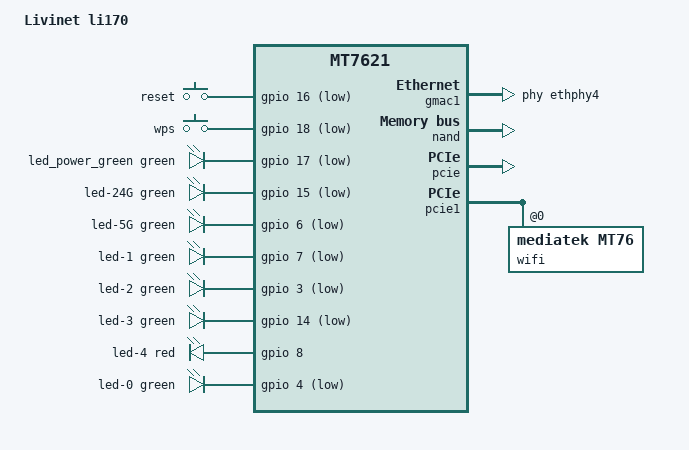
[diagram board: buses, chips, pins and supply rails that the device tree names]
// SPDX-License-Identifier: GPL-2.0-or-later OR MIT

#include "mt7621.dtsi"

#include <dt-bindings/gpio/gpio.h>
#include <dt-bindings/input/input.h>
#include <dt-bindings/leds/common.h>

/ {
	compatible = "livinet,li170", "mediatek,mt7621-soc";
	model = "Livinet li170";

	aliases {
		label-mac-device = &gmac0;

		led-boot = &led_power_green;
		led-failsafe = &led_power_green;
		led-running = &led_power_green;
		led-upgrade = &led_power_green;
	};

	chosen {
		bootargs = "console=ttyS0,115200";
	};

	keys {
		compatible = "gpio-keys";

		reset {
			label = "reset";
			gpios = <&gpio 16 GPIO_ACTIVE_LOW>;
			linux,code = <KEY_RESTART>;
		};
		wps {
			label = "wps";
			gpios = <&gpio 18 GPIO_ACTIVE_LOW>;
			linux,code = <KEY_WPS_BUTTON>;
		};
	};

	leds {
		compatible = "gpio-leds";

		led_power_green: led-5 {
			color = <LED_COLOR_ID_GREEN>;
			function = LED_FUNCTION_POWER;
			gpios = <&gpio 17 GPIO_ACTIVE_LOW>;
		};

		led-24G {
			color = <LED_COLOR_ID_GREEN>;
			function = LED_FUNCTION_WLAN_2GHZ;
			gpios = <&gpio 15 GPIO_ACTIVE_LOW>;
			linux,default-trigger = "phy0tpt";
		};

		led-5G {
			color = <LED_COLOR_ID_GREEN>;
			function = LED_FUNCTION_WLAN_5GHZ;
			gpios = <&gpio 6 GPIO_ACTIVE_LOW>;
			linux,default-trigger = "phy1tpt";
		};
		led-1 {
			color = <LED_COLOR_ID_GREEN>;
			function = LED_FUNCTION_LAN;
			function-enumerator = <1>;
			gpios = <&gpio 7 GPIO_ACTIVE_LOW>;
		};
		led-2 {
			color = <LED_COLOR_ID_GREEN>;
			function = LED_FUNCTION_LAN;
			function-enumerator = <2>;
			gpios = <&gpio 3 GPIO_ACTIVE_LOW>;
		};
		led-3 {
			color = <LED_COLOR_ID_GREEN>;
			function = LED_FUNCTION_LAN;
			function-enumerator = <3>;
			gpios = <&gpio 14 GPIO_ACTIVE_LOW>;
		};

		led-4 {
			color = <LED_COLOR_ID_RED>;
			function = LED_FUNCTION_WAN;
			gpios = <&gpio 8 GPIO_ACTIVE_HIGH>;
		};

		led-0 {
			color = <LED_COLOR_ID_GREEN>;
			function = LED_FUNCTION_WAN;
			gpios = <&gpio 4 GPIO_ACTIVE_LOW>;
		};
	};
};

&gmac0 {
	nvmem-cells = <&macaddr_factory_3fff4>;
	nvmem-cell-names = "mac-address";
};

&gmac1 {
	status = "okay";
	label = "wan";
	phy-handle = <&ethphy4>;

	nvmem-cells = <&macaddr_factory_3fffa>;
	nvmem-cell-names = "mac-address";
};

&ethphy4 {
	/delete-property/ interrupts;
};


&nand {
	status = "okay";

	mediatek,nmbm;
	mediatek,bmt-max-ratio = <1>;
	mediatek,bmt-max-reserved-blocks = <64>;

	partitions {
		compatible = "fixed-partitions";
		#address-cells = <1>;
		#size-cells = <1>;

		partition@0 {
			label = "u-boot";
			reg = <0x0 0x80000>;
			read-only;
		};

		partition@80000 {
			label = "Config";
			reg = <0x80000 0x80000>;
			read-only;
		};

		partition@100000 {
			label = "factory";
			reg = <0x100000 0x80000>;

			nvmem-layout {
				compatible = "fixed-layout";
				#address-cells = <1>;
				#size-cells = <1>;

				eeprom_factory_0: eeprom@0 {
					reg = <0x0 0xe00>;
				};

				macaddr_factory_3fff4: macaddr@3fff4 {
					reg = <0x3fff4 0x6>;
				};

				macaddr_factory_3fffa: macaddr@3fffa {
					reg = <0x3fffa 0x6>;
				};
			};
		};

		partition@180000 {
			label = "firmware";
			reg = <0x180000 0x7680000>;

			compatible = "fixed-partitions";
			#address-cells = <1>;
			#size-cells = <1>;

			partition@0 {
				label = "kernel";
				reg = <0x0 0x400000>;
			};

			partition@400000 {
				label = "ubi";
				reg = <0x400000 0x7280000>;
			};
		};
	};
};

&pcie {
	status = "okay";
};

&pcie1 {
	wifi@0,0 {
		compatible = "mediatek,mt76";
		reg = <0x0000 0 0 0 0>;

		mediatek,disable-radar-background;

		nvmem-cells = <&eeprom_factory_0>;
		nvmem-cell-names = "eeprom";
	};
};

&state_default {
	gpio {
		groups = "i2c", "jtag", "wdt";
		function = "gpio";
	};
};

&switch0 {
	ports {
		port@1 {
			status = "okay";
			label = "lan1";
		};

		port@2 {
			status = "okay";
			label = "lan2";
		};

		port@3 {
			status = "okay";
			label = "lan3";
		};
	};
};
